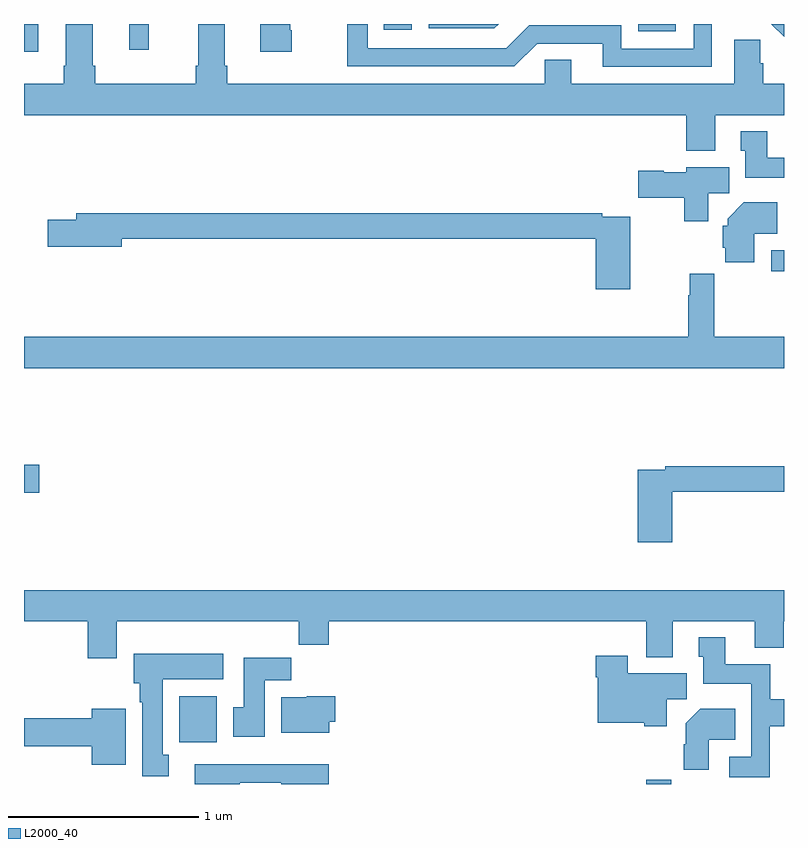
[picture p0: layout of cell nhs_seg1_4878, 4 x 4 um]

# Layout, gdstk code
import gdstk
lib = gdstk.Library(unit=1e-6, precision=1e-09)
def R(c, l, rs):  # rectangles x0, y0, x1, y1
    for r in rs: c.add(gdstk.rectangle(r[:2], r[2:], *l))
def P(c, l, *ps):  # polygons
    for p in ps: c.add(gdstk.Polygon(p, *l))
L2000_40 = (2000, 40)

nhs_seg1_4878 = lib.new_cell('nhs_seg1_4878')
R(nhs_seg1_4878, L2000_40, [(378.274,560.199,378.406,560.221), (375.818,560.42,376.015,560.662), (375,561.731,375.079,561.878), (378.933,562.899,379,563.007), (375,564.054,375.076,564.199), (375.554,564.063,375.656,564.199), (378.232,564.161,378.43,564.199), (376.894,564.168,377.04,564.199)])
P(nhs_seg1_4878, L2000_40, [(378.637,563.72),(379,563.72),(379,563.884),(378.89,563.884),(378.89,563.993),(378.876,563.993),(378.876,564.116),(378.737,564.116),(378.737,563.884),(377.881,563.884),(377.881,564.011),(377.742,564.011),(377.742,563.884),(376.07,563.884),(376.07,563.98),(376.057,563.98),(376.057,564.199),(375.917,564.199),(375.917,563.98),(375.905,563.98),(375.905,563.884),(375.374,563.884),(375.374,563.98),(375.361,563.98),(375.361,564.199),(375.221,564.199),(375.221,563.98),(375.209,563.98),(375.209,563.884),(375,563.884),(375,563.72),(378.485,563.72),(378.485,563.531),(378.637,563.531)],
  [(379,564.199),(378.932,564.199),(379,564.132)],
  [(378.621,564.199),(378.525,564.199),(378.525,564.069),(378.144,564.069),(378.144,564.192),(377.658,564.192),(377.538,564.072),(376.809,564.072),(376.809,564.199),(376.701,564.199),(376.701,563.976),(377.58,563.976),(377.7,564.096),(378.047,564.096),(378.047,563.973),(378.621,563.973)],
  [(377.498,564.199),(377.13,564.199),(377.13,564.177),(377.476,564.177)],
  [(376.41,564.166),(376.402,564.166),(376.402,564.199),(376.244,564.199),(376.244,564.054),(376.41,564.054)],
  [(379,563.494),(378.913,563.494),(378.913,563.635),(378.773,563.635),(378.773,563.532),(378.797,563.532),(378.797,563.39),(379,563.39)],
  [(378.601,563.308),(378.712,563.308),(378.712,563.446),(378.486,563.446),(378.486,563.419),(378.366,563.419),(378.366,563.427),(378.234,563.427),(378.234,563.285),(378.475,563.285),(378.475,563.16),(378.601,563.16)],
  [(378.844,563.096),(378.965,563.096),(378.965,563.26),(378.789,563.26),(378.704,563.175),(378.704,563.136),(378.678,563.136),(378.678,563.022),(378.692,563.022),(378.692,562.946),(378.844,562.946)],
  [(378.191,563.184),(378.044,563.184),(378.044,563.204),(375.275,563.204),(375.275,563.168),(375.126,563.168),(375.126,563.026),(375.514,563.026),(375.514,563.068),(378.008,563.068),(378.008,562.803),(378.191,562.803)],
  [(379,562.552),(378.632,562.552),(378.632,562.885),(378.504,562.885),(378.504,562.772),(378.496,562.772),(378.496,562.552),(375,562.552),(375,562.388),(379,562.388)],
  [(378.413,561.736),(379,561.736),(379,561.872),(378.376,561.872),(378.376,561.852),(378.23,561.852),(378.23,561.471),(378.413,561.471)],
  [(375.487,561.056),(376.447,561.056),(376.447,560.932),(376.604,560.932),(376.604,561.056),(378.275,561.056),(378.275,560.867),(378.415,560.867),(378.415,561.056),(378.845,561.056),(378.845,560.915),(378.998,560.915),(378.998,561.056),(379,561.056),(379,561.22),(375,561.22),(375,561.056),(375.335,561.056),(375.335,560.862),(375.487,560.862)],
  [(378.924,560.504),(379,560.504),(379,560.644),(378.927,560.644),(378.927,560.83),(378.691,560.83),(378.691,560.971),(378.551,560.971),(378.551,560.868),(378.575,560.868),(378.575,560.726),(378.828,560.726),(378.828,560.343),(378.711,560.343),(378.711,560.235),(378.924,560.235)],
  [(375.763,560.354),(375.73,560.354),(375.73,560.75),(376.048,560.75),(376.048,560.884),(375.578,560.884),(375.578,560.73),(375.608,560.73),(375.608,560.63),(375.623,560.63),(375.623,560.241),(375.763,560.241)],
  [(378.382,560.644),(378.487,560.644),(378.487,560.782),(378.178,560.782),(378.178,560.875),(378.008,560.875),(378.008,560.762),(378.02,560.762),(378.02,560.522),(378.264,560.522),(378.264,560.504),(378.382,560.504)],
  [(376.267,560.744),(376.406,560.744),(376.406,560.863),(376.157,560.863),(376.157,560.604),(376.1,560.604),(376.1,560.448),(376.267,560.448)],
  [(376.606,560.526),(376.637,560.526),(376.637,560.662),(376.488,560.662),(376.488,560.656),(376.355,560.656),(376.355,560.468),(376.606,560.468)],
  [(375.535,560.596),(375.356,560.596),(375.356,560.546),(375,560.546),(375,560.399),(375.356,560.399),(375.356,560.3),(375.535,560.3)],
  [(378.604,560.432),(378.743,560.432),(378.743,560.596),(378.56,560.596),(378.482,560.518),(378.482,560.408),(378.473,560.408),(378.473,560.274),(378.604,560.274)],
  [(376.135,560.205),(376.355,560.205),(376.355,560.199),(376.604,560.199),(376.604,560.302),(375.899,560.302),(375.899,560.199),(376.135,560.199)])

lib.write_gds('nhs_seg1_4878.gds')
